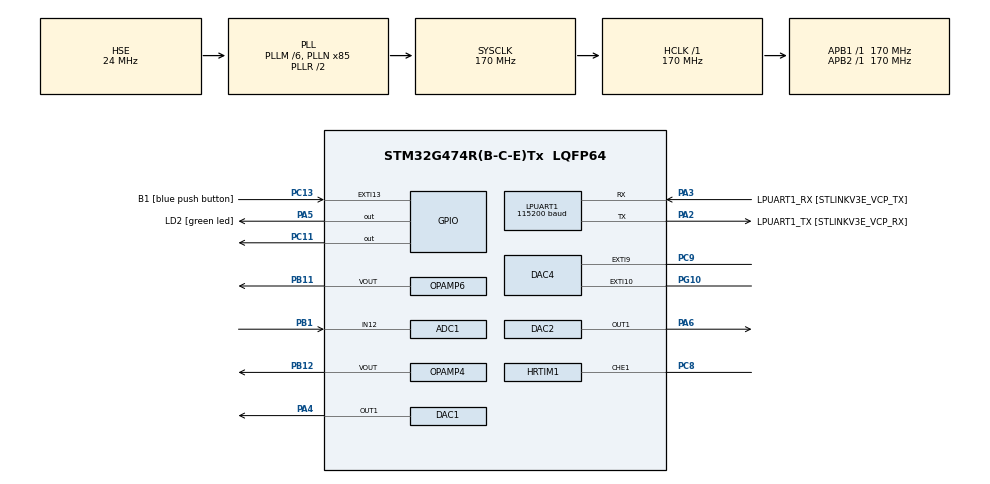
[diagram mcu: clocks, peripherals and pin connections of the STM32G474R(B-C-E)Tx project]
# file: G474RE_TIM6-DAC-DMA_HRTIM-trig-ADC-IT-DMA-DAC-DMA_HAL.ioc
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Mcu.Family=STM32G4
HRTIM1.NumberSetSource1-Output_TE1=1
RCC.CortexFreq_Value=170000000
HRTIM1.InterleavedMode-Output_TE1=HRTIM_INTERLEAVED_MODE_DUAL
Dma.DAC3_CH1.0.Polarity=HAL_DMAMUX_REQ_GEN_RISING
Dma.ADC1.1.MemDataAlignment=DMA_MDATAALIGN_WORD
ADC1.Overrun=ADC_OVR_DATA_OVERWRITTEN
Dma.DAC4_CH1.2.SyncPolarity=HAL_DMAMUX_SYNC_NO_EVENT
Dma.DAC3_CH1.0.MemInc=DMA_MINC_ENABLE
DAC2.DAC_HighFrequency_OUT1-DAC_OUT1=DAC_HIGH_FREQUENCY_INTERFACE_MODE_ABOVE_160MHZ
PA14.GPIO_Label=T_SWCLK
Dma.DAC3_CH1.0.PeriphInc=DMA_PINC_DISABLE
Dma.ADC1.1.SyncEnable=DISABLE
SH.COMP_DAC21_group.0=DAC2_OUT1,DAC_OUT1
DAC1.DAC_Trigger_OUT1-DAC_OUT1=DAC_TRIGGER_NONE
Dma.DAC4_CH1.2.Polarity=HAL_DMAMUX_REQ_GEN_RISING
LPUART1.WordLength=UART_WORDLENGTH_8B
PC13.GPIO_Label=B1 [blue push button]
PB11.Signal=OPAMP6_VOUT
RCC.SYSCLKSource=RCC_SYSCLKSOURCE_PLLCLK
ProjectManager.StackSize=0x400
Dma.DAC3_CH1.0.MemDataAlignment=DMA_MDATAALIGN_WORD
Dma.DAC4_CH1.2.SyncRequestNumber=1
NVIC.DMA1_Channel3_IRQn=true\:0\:0\:false\:false\:true\:false\:true
Dma.DAC3_CH1.0.SyncPolarity=HAL_DMAMUX_SYNC_NO_EVENT
Dma.DAC3_CH1.0.SyncEnable=DISABLE
Dma.ADC1.1.Instance=DMA1_Channel2
Dma.ADC1.1.SyncPolarity=HAL_DMAMUX_SYNC_NO_EVENT
HRTIM1.Periode_MASTER=54400
RCC.HCLKFreq_Value=170000000
RCC.APB2TimFreq_Value=170000000
DAC3.DAC_Trigger_OUT1-DAC_OUT1_Int=DAC_TRIGGER_T6_TRGO
Dma.ADC1.1.PeriphDataAlignment=DMA_PDATAALIGN_WORD
RCC.AHBFreq_Value=170000000
HRTIM1.NumberResetSource1-Output_TE1=1
VP_HRTIM1_VS_hrtimMasterTimerNoOutput.Mode=MasterTimer
HRTIM1.ORingUpdateSource_ADCTrigger1=HRTIM_ADCTRIGGERUPDATE_TIMER_E
Dma.DAC4_CH1.2.RequestNumber=1
ADC1.Channel-0\#ChannelRegularConversion=ADC_CHANNEL_12
RCC.HSE_VALUE=24000000
Dma.DAC4_CH1.2.MemDataAlignment=DMA_MDATAALIGN_WORD
PB3.Mode=Trace_Asynchronous_SW
OPAMP6.PowerMode=OPAMP_POWERMODE_HIGHSPEED
RCC.ADC12Freq_Value=170000000
RCC.RTCClockSelection=RCC_RTCCLKSOURCE_LSE
VP_DAC3_VS_DACI1.Mode=DAC_OUT1_Int
PC14-OSC32_IN.Mode=LSE-External-Oscillator
PA14.Mode=Trace_Asynchronous_SW
HRTIM1.PrescalerRatio_MASTER=HRTIM_PRESCALERRATIO_MUL16
Dma.ADC1.1.Priority=DMA_PRIORITY_HIGH
Dma.DAC4_CH1.2.SignalID=NONE
VP_SYS_VS_DBSignals.Mode=DisableDeadBatterySignals
Dma.ADC1.1.Mode=DMA_CIRCULAR
HRTIM1.ResetOutput1_Source1-Output_TE1=HRTIM_OUTPUTRESET_TIMCMP1
OPAMP4.PowerMode=OPAMP_POWERMODE_HIGHSPEED
ADC1.SamplingTime-0\#ChannelRegularConversion=ADC_SAMPLETIME_24CYCLES_5
DAC2.DAC_Trigger_OUT1-DAC_OUT1=DAC_TRIGGER_NONE
Dma.DAC4_CH1.2.Direction=DMA_MEMORY_TO_PERIPH
Mcu.Package=LQFP64
PB1.Signal=ADC1_IN12
PA6.Signal=COMP_DAC21_group
PB12.Mode=Follower-DAC_OUT2-INP
ADC1.EnableInjectedConversion=DISABLE
Dma.DAC3_CH1.0.Mode=DMA_CIRCULAR
DAC1.DAC_HighFrequency_OUT1-DAC_OUT1=DAC_HIGH_FREQUENCY_INTERFACE_MODE_ABOVE_160MHZ
Dma.ADC1.1.Direction=DMA_PERIPH_TO_MEMORY
TIM6.PeriodNoDither=5-1
PA2.GPIO_Label=LPUART1_TX [STLINKV3E_VCP_RX]
Dma.ADC1.1.MemInc=DMA_MINC_ENABLE
HRTIM1.ADCTrigger1_Source1=HRTIM_ADCTRIGGEREVENT13_TIMERE_PERIOD
ADC1.Rank1_Channel=ADC_CHANNEL_12
HRTIM1.NumberADCTriggerSource1=1
Dma.Request2=DAC4_CH1
Dma.Request1=ADC1
RCC.APB1TimFreq_Value=170000000
PF1-OSC_OUT.Mode=HSE-External-Oscillator
Dma.Request0=DAC3_CH1
Dma.DAC4_CH1.2.SyncSignalID=NONE
ADC1.EOCSelection=ADC_EOC_SINGLE_CONV
PF1-OSC_OUT.Signal=RCC_OSC_OUT
RCC.HSI48_VALUE=48000000
PC9.GPIO_ModeDefaultEXTI=GPIO_MODE_EVT_FALLING
Dma.ADC1.1.SignalID=NONE
PA3.Signal=LPUART1_RX
PB3.GPIO_Label=T_SWO
RCC.PLLSourceVirtual=RCC_PLLSOURCE_HSE
PC15-OSC32_OUT.Mode=LSE-External-Oscillator
ADC1.Rank-0\#ChannelRegularConversion=1
Dma.DAC4_CH1.2.PeriphInc=DMA_PINC_DISABLE
Dma.ADC1.1.SyncSignalID=NONE
ADC1.OffsetNumber-0\#ChannelRegularConversion=ADC_OFFSET_NONE
PC13.Signal=GPXTI13
PC11.Signal=GPIO_Output
Dma.ADC1.1.RequestNumber=1
PC8.Signal=HRTIM1_CHE1
TIM6.Prescaler=17-1
VP_TIM6_VS_ClockSourceINT.Mode=Enable_Timer
RCC.EXTERNAL_CLOCK_VALUE=12288000
PC14-OSC32_IN.Signal=RCC_OSC32_IN
Dma.DAC3_CH1.0.Instance=DMA1_Channel1
HRTIM1.PrescalerRatio_TE=HRTIM_PRESCALERRATIO_MUL16
Dma.DAC4_CH1.2.Mode=DMA_CIRCULAR
HRTIM1.CompareUnit1-Output_TE1=HRTIM_COMPAREUNIT_1
PA13.Signal=SYS_JTMS-SWDIO
PA3.Mode=Asynchronous
DAC4.DAC_Trigger_OUT1-DAC_OUT1_Int=DAC_TRIGGER_EXT_IT9
DAC4.DAC_HighFrequency_OUT1-DAC_OUT1_Int=DAC_HIGH_FREQUENCY_INTERFACE_MODE_ABOVE_160MHZ
Dma.DAC3_CH1.0.Direction=DMA_MEMORY_TO_PERIPH
TIM6.AutoReloadPreload=TIM_AUTORELOAD_PRELOAD_DISABLE
PB11.Mode=Follower-DAC_OUT2-INP
PG10-NRST.Signal=GPXTI10
NVIC.DMA1_Channel2_IRQn=true\:0\:0\:false\:false\:true\:false\:true
ProjectManager.TargetToolchain=STM32CubeIDE
SH.COMP_DAC11_group.0=DAC1_OUT1,DAC_OUT1
VP_DAC4_VS_DACI1.Mode=DAC_OUT1_Int
RCC.USBFreq_Value=170000000
Dma.ADC1.1.Polarity=HAL_DMAMUX_REQ_GEN_RISING
PC15-OSC32_OUT.Signal=RCC_OSC32_OUT
PF0-OSC_IN.Mode=HSE-External-Oscillator
Dma.DAC4_CH1.2.SyncEnable=DISABLE
Dma.DAC3_CH1.0.EventEnable=DISABLE
HRTIM1.CompareValue1-MasterTimer=54400/2
Dma.ADC1.1.SyncRequestNumber=1
PA5.Signal=GPIO_Output
HRTIM1.ADCTrigger_Id2=__NULL
HRTIM1.ADCTrigger_Id1=HRTIM_ADCTRIGGER_1
Dma.DAC3_CH1.0.SyncRequestNumber=1
board=NUCLEO-G474RE
RCC.VCOOutputFreq_Value=340000000
Dma.DAC4_CH1.2.Priority=DMA_PRIORITY_VERY_HIGH
RCC.ADC345Freq_Value=170000000
RCC.APB2Freq_Value=170000000
TIM6.TIM_MasterOutputTrigger=TIM_TRGO_UPDATE
Dma.DAC3_CH1.0.SignalID=NONE
Dma.ADC1.1.PeriphInc=DMA_PINC_DISABLE
ADC1.DMAContinuousRequests=ENABLE
PA13.Mode=Trace_Asynchronous_SW
Mcu.Name=STM32G474R(B-C-E)Tx
LPUART1.BaudRate=115200
PA13.GPIO_Label=T_SWDIO
PA2.Signal=LPUART1_TX
HRTIM1.SetOutput1_Source1-Output_TE1=HRTIM_OUTPUTSET_TIMPER
Dma.DAC3_CH1.0.PeriphDataAlignment=DMA_PDATAALIGN_WORD
ADC1.ExternalTrigConv=ADC_EXTERNALTRIG_HRTIM_TRG1
Dma.DAC3_CH1.0.Priority=DMA_PRIORITY_HIGH
PC8.Mode=Output_TE1
PC8.GPIO_Speed_High_Default=GPIO_SPEED_FREQ_LOW
PB3.Signal=SYS_JTDO-SWO
PA4.Signal=COMP_DAC11_group
RCC.SYSCLKFreq_VALUE=170000000
ADC1.master=1
DAC3.DAC_HighFrequency_OUT1-DAC_OUT1_Int=DAC_HIGH_FREQUENCY_INTERFACE_MODE_ABOVE_160MHZ
PA5.GPIO_Label=LD2 [green led]
Dma.DAC3_CH1.0.RequestNumber=1
PA14.Signal=SYS_JTCK-SWCLK
ProjectManager.HeapSize=0x200
PB1.Mode=IN12-Single-Ended
RCC.HSI_VALUE=16000000
NVIC.PriorityGroup=NVIC_PRIORITYGROUP_4
ADC1.NbrOfConversionFlag=1
RCC.PLLM=RCC_PLLM_DIV6
Dma.DAC4_CH1.2.MemInc=DMA_MINC_ENABLE
RCC.PLLN=85
Dma.DAC3_CH1.0.SyncSignalID=NONE
Dma.DAC4_CH1.2.EventEnable=DISABLE
PA2.Mode=Asynchronous
Dma.DAC4_CH1.2.Instance=DMA1_Channel3
PC9.Signal=GPXTI9
NVIC.DMA1_Channel1_IRQn=true\:0\:0\:false\:false\:true\:false\:true
PF0-OSC_IN.Signal=RCC_OSC_IN
Dma.ADC1.1.EventEnable=DISABLE
Dma.DAC4_CH1.2.PeriphDataAlignment=DMA_PDATAALIGN_WORD
RCC.APB1Freq_Value=170000000
HRTIM1.CompareUnit1-MasterTimer=HRTIM_COMPAREUNIT_1
PB12.Signal=OPAMP4_VOUT
HRTIM1.Periode_TE=54400
PA3.GPIO_Label=LPUART1_RX [STLINKV3E_VCP_TX]

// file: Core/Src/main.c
/* USER CODE BEGIN Header */
/**
  ******************************************************************************
  * @file           : main.c
  * @brief          : Main program body
  ******************************************************************************
  * @attention
  *
  * <h2><center>&copy; Copyright (c) 2021 STMicroelectronics.
  * All rights reserved.</center></h2>
  *
  * This software component is licensed by ST under BSD 3-Clause license,
  * the "License"; You may not use this file except in compliance with the
  * License. You may obtain a copy of the License at:
  *                        opensource.org/licenses/BSD-3-Clause
  *
  ******************************************************************************
  */
/* USER CODE END Header */
#include "main.h"

/* USER CODE BEGIN Includes */

#include "waveforms.h"

/* USER CODE END Includes */

ADC_HandleTypeDef hadc1;
DMA_HandleTypeDef hdma_adc1;

DAC_HandleTypeDef hdac1;
DAC_HandleTypeDef hdac2;
DAC_HandleTypeDef hdac3;
DAC_HandleTypeDef hdac4;
DMA_HandleTypeDef hdma_dac3_ch1;
DMA_HandleTypeDef hdma_dac4_ch1;

HRTIM_HandleTypeDef hhrtim1;

UART_HandleTypeDef hlpuart1;

OPAMP_HandleTypeDef hopamp4;
OPAMP_HandleTypeDef hopamp6;

TIM_HandleTypeDef htim6;

/* USER CODE BEGIN PV */

uint32_t adc_data, adc_dac_value;

/* USER CODE END PV */

void SystemClock_Config(void);
static void MX_GPIO_Init(void);
static void MX_DMA_Init(void);
static void MX_LPUART1_UART_Init(void);
static void MX_ADC1_Init(void);
static void MX_HRTIM1_Init(void);
static void MX_TIM6_Init(void);
static void MX_DAC3_Init(void);
static void MX_OPAMP6_Init(void);
static void MX_DAC4_Init(void);
static void MX_OPAMP4_Init(void);
static void MX_DAC2_Init(void);
static void MX_DAC1_Init(void);

int main(void)
{

  /* MCU Configuration--------------------------------------------------------*/

  /* Reset of all peripherals, Initializes the Flash interface and the Systick. */
  HAL_Init();

  /* Configure the system clock */
  SystemClock_Config();

  /* Initialize all configured peripherals */
  MX_GPIO_Init();
  MX_DMA_Init();
  MX_LPUART1_UART_Init();
  MX_ADC1_Init();
  MX_HRTIM1_Init();
  MX_TIM6_Init();
  MX_DAC3_Init();
  MX_OPAMP6_Init();
  MX_DAC4_Init();
  MX_OPAMP4_Init();
  MX_DAC2_Init();
  MX_DAC1_Init();
  /* USER CODE BEGIN 2 */

	for (uint16_t cntr = 0; cntr < MySine2000_SIZE; cntr++)
	{
		MySine2000[cntr] += 682;
		MySine2000[cntr] += MySine200[cntr % MySine200_SIZE];
	}

  /*##- Enable DAC Channel and associated DMA ##############################*/
  if(HAL_OK != HAL_DAC_Start_DMA(&hdac3, DAC_CHANNEL_1,
  				   (uint32_t*)MySine2000, MySine2000_SIZE, DAC_ALIGN_12B_R))
  {
  	/* Start DMA Error */
  	Error_Handler();
  }

//  /*##- Enable DAC Channel ##############################*/
//  if(HAL_OK != HAL_DAC_Start(&hdac4, DAC_CHANNEL_1))
//  {
//  	/* Start Error */
//  	Error_Handler();
//  }

	/*##- Enable DAC Channel and associated DMA ##############################*/
	if(HAL_OK != HAL_DAC_Start_DMA(&hdac4, DAC_CHANNEL_1,
								&adc_dac_value, 1, DAC_ALIGN_12B_R))
	{
		/* Start DMA Error */
		Error_Handler();
	}

  /*##- Start OPAMP    #####################################################*/
  /* Enable OPAMP */
  if(HAL_OK != HAL_OPAMP_Start(&hopamp6))
  {
  	Error_Handler();
  }

  /*##- Start OPAMP    #####################################################*/
  /* Enable OPAMP */
  if(HAL_OK != HAL_OPAMP_Start(&hopamp4))
  {
  	Error_Handler();
  }

  /*##- Enable TIM peripheral counter ######################################*/
  if(HAL_OK != HAL_TIM_Base_Start(&htim6))
  {
  	Error_Handler();
  }

//  /*##- Enable Injected ADC Channel IT ##############################*/
//  if(HAL_OK != HAL_ADCEx_InjectedStart_IT(&hadc1))
//  {
//  	/* Start Error */
//  	Error_Handler();
//  }

//  /*##- Enable Regular Injection ADC Channel ##############################*/
//  if(HAL_OK != HAL_ADC_Start_IT(&hadc1))
//  {
//  	/* Start Error */
//  	Error_Handler();
//  }

	/*##- Enable ADC Channel and associated DMA ##############################*/
	if(HAL_OK != HAL_ADC_Start_DMA(&hadc1, &adc_dac_value, 1))
	{
		/* Start DMA Error */
		Error_Handler();
	}

	/*##- Enable DAC Channel ##############################*/
	if(HAL_OK != HAL_DAC_Start(&hdac1, DAC_CHANNEL_1))
	{
		/* Start Error */
		Error_Handler();
	}

	if(HAL_OK != HAL_DAC_Start(&hdac2, DAC_CHANNEL_1))
	{
		/* Start Error */
		Error_Handler();
	}

	if(HAL_OK != HAL_HRTIM_WaveformOutputStart(&hhrtim1, HRTIM_OUTPUT_TE1))
	{
		Error_Handler();
	}

	if(HAL_OK != HAL_HRTIM_WaveformCounterStart(&hhrtim1, HRTIM_TIMERID_TIMER_E))
	{
		Error_Handler();
	}

  /* USER CODE END 2 */

  /* Infinite loop */
  while (1)
  {

  }
}

void SystemClock_Config(void)
{
  RCC_OscInitTypeDef RCC_OscInitStruct = {0};
  RCC_ClkInitTypeDef RCC_ClkInitStruct = {0};
  RCC_PeriphCLKInitTypeDef PeriphClkInit = {0};

  /** Configure the main internal regulator output voltage
  */
  HAL_PWREx_ControlVoltageScaling(PWR_REGULATOR_VOLTAGE_SCALE1_BOOST);
  /** Initializes the RCC Oscillators according to the specified parameters
  * in the RCC_OscInitTypeDef structure.
  */
  RCC_OscInitStruct.OscillatorType = RCC_OSCILLATORTYPE_HSE;
  RCC_OscInitStruct.HSEState = RCC_HSE_ON;
  RCC_OscInitStruct.PLL.PLLState = RCC_PLL_ON;
  RCC_OscInitStruct.PLL.PLLSource = RCC_PLLSOURCE_HSE;
  RCC_OscInitStruct.PLL.PLLM = RCC_PLLM_DIV6;
  RCC_OscInitStruct.PLL.PLLN = 85;
  RCC_OscInitStruct.PLL.PLLP = RCC_PLLP_DIV2;
  RCC_OscInitStruct.PLL.PLLQ = RCC_PLLQ_DIV2;
  RCC_OscInitStruct.PLL.PLLR = RCC_PLLR_DIV2;
  if (HAL_RCC_OscConfig(&RCC_OscInitStruct) != HAL_OK)
  {
    Error_Handler();
  }
  /** Initializes the CPU, AHB and APB buses clocks
  */
  RCC_ClkInitStruct.ClockType = RCC_CLOCKTYPE_HCLK|RCC_CLOCKTYPE_SYSCLK
                              |RCC_CLOCKTYPE_PCLK1|RCC_CLOCKTYPE_PCLK2;
  RCC_ClkInitStruct.SYSCLKSource = RCC_SYSCLKSOURCE_PLLCLK;
  RCC_ClkInitStruct.AHBCLKDivider = RCC_SYSCLK_DIV1;
  RCC_ClkInitStruct.APB1CLKDivider = RCC_HCLK_DIV1;
  RCC_ClkInitStruct.APB2CLKDivider = RCC_HCLK_DIV1;

  if (HAL_RCC_ClockConfig(&RCC_ClkInitStruct, FLASH_LATENCY_4) != HAL_OK)
  {
    Error_Handler();
  }
  /** Initializes the peripherals clocks
  */
  PeriphClkInit.PeriphClockSelection = RCC_PERIPHCLK_LPUART1|RCC_PERIPHCLK_ADC12;
  PeriphClkInit.Lpuart1ClockSelection = RCC_LPUART1CLKSOURCE_PCLK1;
  PeriphClkInit.Adc12ClockSelection = RCC_ADC12CLKSOURCE_SYSCLK;
  if (HAL_RCCEx_PeriphCLKConfig(&PeriphClkInit) != HAL_OK)
  {
    Error_Handler();
  }
}

static void MX_ADC1_Init(void)
{

  ADC_MultiModeTypeDef multimode = {0};
  ADC_ChannelConfTypeDef sConfig = {0};

  /** Common config
  */
  hadc1.Instance = ADC1;
  hadc1.Init.ClockPrescaler = ADC_CLOCK_SYNC_PCLK_DIV4;
  hadc1.Init.Resolution = ADC_RESOLUTION_12B;
  hadc1.Init.DataAlign = ADC_DATAALIGN_RIGHT;
  hadc1.Init.GainCompensation = 0;
  hadc1.Init.ScanConvMode = ADC_SCAN_DISABLE;
  hadc1.Init.EOCSelection = ADC_EOC_SINGLE_CONV;
  hadc1.Init.LowPowerAutoWait = DISABLE;
  hadc1.Init.ContinuousConvMode = DISABLE;
  hadc1.Init.NbrOfConversion = 1;
  hadc1.Init.DiscontinuousConvMode = DISABLE;
  hadc1.Init.ExternalTrigConv = ADC_EXTERNALTRIG_HRTIM_TRG1;
  hadc1.Init.ExternalTrigConvEdge = ADC_EXTERNALTRIGCONVEDGE_RISING;
  hadc1.Init.DMAContinuousRequests = ENABLE;
  hadc1.Init.Overrun = ADC_OVR_DATA_OVERWRITTEN;
  hadc1.Init.OversamplingMode = DISABLE;
  if (HAL_ADC_Init(&hadc1) != HAL_OK)
  {
    Error_Handler();
  }
  /** Configure the ADC multi-mode
  */
  multimode.Mode = ADC_MODE_INDEPENDENT;
  if (HAL_ADCEx_MultiModeConfigChannel(&hadc1, &multimode) != HAL_OK)
  {
    Error_Handler();
  }
  /** Configure Regular Channel
  */
  sConfig.Channel = ADC_CHANNEL_12;
  sConfig.Rank = ADC_REGULAR_RANK_1;
  sConfig.SamplingTime = ADC_SAMPLETIME_24CYCLES_5;
  sConfig.SingleDiff = ADC_SINGLE_ENDED;
  sConfig.OffsetNumber = ADC_OFFSET_NONE;
  sConfig.Offset = 0;
  if (HAL_ADC_ConfigChannel(&hadc1, &sConfig) != HAL_OK)
  {
    Error_Handler();
  }

}

static void MX_DAC1_Init(void)
{

  DAC_ChannelConfTypeDef sConfig = {0};

  /** DAC Initialization
  */
  hdac1.Instance = DAC1;
  if (HAL_DAC_Init(&hdac1) != HAL_OK)
  {
    Error_Handler();
  }
  /** DAC channel OUT1 config
  */
  sConfig.DAC_HighFrequency = DAC_HIGH_FREQUENCY_INTERFACE_MODE_ABOVE_160MHZ;
  sConfig.DAC_DMADoubleDataMode = DISABLE;
  sConfig.DAC_SignedFormat = DISABLE;
  sConfig.DAC_SampleAndHold = DAC_SAMPLEANDHOLD_DISABLE;
  sConfig.DAC_Trigger = DAC_TRIGGER_NONE;
  sConfig.DAC_Trigger2 = DAC_TRIGGER_NONE;
  sConfig.DAC_OutputBuffer = DAC_OUTPUTBUFFER_ENABLE;
  sConfig.DAC_ConnectOnChipPeripheral = DAC_CHIPCONNECT_EXTERNAL;
  sConfig.DAC_UserTrimming = DAC_TRIMMING_FACTORY;
  if (HAL_DAC_ConfigChannel(&hdac1, &sConfig, DAC_CHANNEL_1) != HAL_OK)
  {
    Error_Handler();
  }

}

static void MX_DAC2_Init(void)
{

  DAC_ChannelConfTypeDef sConfig = {0};

  /** DAC Initialization
  */
  hdac2.Instance = DAC2;
  if (HAL_DAC_Init(&hdac2) != HAL_OK)
  {
    Error_Handler();
  }
  /** DAC channel OUT1 config
  */
  sConfig.DAC_HighFrequency = DAC_HIGH_FREQUENCY_INTERFACE_MODE_ABOVE_160MHZ;
  sConfig.DAC_DMADoubleDataMode = DISABLE;
  sConfig.DAC_SignedFormat = DISABLE;
  sConfig.DAC_SampleAndHold = DAC_SAMPLEANDHOLD_DISABLE;
  sConfig.DAC_Trigger = DAC_TRIGGER_NONE;
  sConfig.DAC_Trigger2 = DAC_TRIGGER_NONE;
  sConfig.DAC_OutputBuffer = DAC_OUTPUTBUFFER_ENABLE;
  sConfig.DAC_ConnectOnChipPeripheral = DAC_CHIPCONNECT_EXTERNAL;
  sConfig.DAC_UserTrimming = DAC_TRIMMING_FACTORY;
  if (HAL_DAC_ConfigChannel(&hdac2, &sConfig, DAC_CHANNEL_1) != HAL_OK)
  {
    Error_Handler();
  }

}

static void MX_DAC3_Init(void)
{

  DAC_ChannelConfTypeDef sConfig = {0};

  /** DAC Initialization
  */
  hdac3.Instance = DAC3;
  if (HAL_DAC_Init(&hdac3) != HAL_OK)
  {
    Error_Handler();
  }
  /** DAC channel OUT1 config
  */
  sConfig.DAC_HighFrequency = DAC_HIGH_FREQUENCY_INTERFACE_MODE_ABOVE_160MHZ;
  sConfig.DAC_DMADoubleDataMode = DISABLE;
  sConfig.DAC_SignedFormat = DISABLE;
  sConfig.DAC_SampleAndHold = DAC_SAMPLEANDHOLD_DISABLE;
  sConfig.DAC_Trigger = DAC_TRIGGER_T6_TRGO;
  sConfig.DAC_Trigger2 = DAC_TRIGGER_NONE;
  sConfig.DAC_OutputBuffer = DAC_OUTPUTBUFFER_DISABLE;
  sConfig.DAC_ConnectOnChipPeripheral = DAC_CHIPCONNECT_INTERNAL;
  sConfig.DAC_UserTrimming = DAC_TRIMMING_FACTORY;
  if (HAL_DAC_ConfigChannel(&hdac3, &sConfig, DAC_CHANNEL_1) != HAL_OK)
  {
    Error_Handler();
  }

}

static void MX_DAC4_Init(void)
{

  DAC_ChannelConfTypeDef sConfig = {0};

  /** DAC Initialization
  */
  hdac4.Instance = DAC4;
  if (HAL_DAC_Init(&hdac4) != HAL_OK)
  {
    Error_Handler();
  }
  /** DAC channel OUT1 config
  */
  sConfig.DAC_HighFrequency = DAC_HIGH_FREQUENCY_INTERFACE_MODE_ABOVE_160MHZ;
  sConfig.DAC_DMADoubleDataMode = DISABLE;
  sConfig.DAC_SignedFormat = DISABLE;
  sConfig.DAC_SampleAndHold = DAC_SAMPLEANDHOLD_DISABLE;
  sConfig.DAC_Trigger = DAC_TRIGGER_EXT_IT9;
  sConfig.DAC_Trigger2 = DAC_TRIGGER_NONE;
  sConfig.DAC_OutputBuffer = DAC_OUTPUTBUFFER_DISABLE;
  sConfig.DAC_ConnectOnChipPeripheral = DAC_CHIPCONNECT_INTERNAL;
  sConfig.DAC_UserTrimming = DAC_TRIMMING_FACTORY;
  if (HAL_DAC_ConfigChannel(&hdac4, &sConfig, DAC_CHANNEL_1) != HAL_OK)
  {
    Error_Handler();
  }

}

static void MX_HRTIM1_Init(void)
{

  HRTIM_ADCTriggerCfgTypeDef pADCTriggerCfg = {0};
  HRTIM_TimeBaseCfgTypeDef pTimeBaseCfg = {0};
  HRTIM_TimerCfgTypeDef pTimerCfg = {0};
  HRTIM_CompareCfgTypeDef pCompareCfg = {0};
  HRTIM_TimerCtlTypeDef pTimerCtl = {0};
  HRTIM_OutputCfgTypeDef pOutputCfg = {0};

  hhrtim1.Instance = HRTIM1;
  hhrtim1.Init.HRTIMInterruptResquests = HRTIM_IT_NONE;
  hhrtim1.Init.SyncOptions = HRTIM_SYNCOPTION_NONE;
  if (HAL_HRTIM_Init(&hhrtim1) != HAL_OK)
  {
    Error_Handler();
  }
  if (HAL_HRTIM_DLLCalibrationStart(&hhrtim1, HRTIM_CALIBRATIONRATE_3) != HAL_OK)
  {
    Error_Handler();
  }
  if (HAL_HRTIM_PollForDLLCalibration(&hhrtim1, 10) != HAL_OK)
  {
    Error_Handler();
  }
  pADCTriggerCfg.UpdateSource = HRTIM_ADCTRIGGERUPDATE_TIMER_E;
  pADCTriggerCfg.Trigger = HRTIM_ADCTRIGGEREVENT13_TIMERE_PERIOD;
  if (HAL_HRTIM_ADCTriggerConfig(&hhrtim1, HRTIM_ADCTRIGGER_1, &pADCTriggerCfg) != HAL_OK)
  {
    Error_Handler();
  }
  if (HAL_HRTIM_ADCPostScalerConfig(&hhrtim1, HRTIM_ADCTRIGGER_1, 0x0) != HAL_OK)
  {
    Error_Handler();
  }
  pTimeBaseCfg.Period = 54400;
  pTimeBaseCfg.RepetitionCounter = 0x00;
  pTimeBaseCfg.PrescalerRatio = HRTIM_PRESCALERRATIO_MUL16;
  pTimeBaseCfg.Mode = HRTIM_MODE_CONTINUOUS;
  if (HAL_HRTIM_TimeBaseConfig(&hhrtim1, HRTIM_TIMERINDEX_MASTER, &pTimeBaseCfg) != HAL_OK)
  {
    Error_Handler();
  }
  pTimerCfg.InterruptRequests = HRTIM_MASTER_IT_NONE;
  pTimerCfg.DMARequests = HRTIM_MASTER_DMA_NONE;
  pTimerCfg.DMASrcAddress = 0x0000;
  pTimerCfg.DMADstAddress = 0x0000;
  pTimerCfg.DMASize = 0x1;
  pTimerCfg.HalfModeEnable = HRTIM_HALFMODE_DISABLED;
  pTimerCfg.InterleavedMode = HRTIM_INTERLEAVED_MODE_DISABLED;
  pTimerCfg.StartOnSync = HRTIM_SYNCSTART_DISABLED;
  pTimerCfg.ResetOnSync = HRTIM_SYNCRESET_DISABLED;
  pTimerCfg.DACSynchro = HRTIM_DACSYNC_NONE;
  pTimerCfg.PreloadEnable = HRTIM_PRELOAD_DISABLED;
  pTimerCfg.UpdateGating = HRTIM_UPDATEGATING_INDEPENDENT;
  pTimerCfg.BurstMode = HRTIM_TIMERBURSTMODE_MAINTAINCLOCK;
  pTimerCfg.RepetitionUpdate = HRTIM_UPDATEONREPETITION_DISABLED;
  pTimerCfg.ReSyncUpdate = HRTIM_TIMERESYNC_UPDATE_UNCONDITIONAL;
  if (HAL_HRTIM_WaveformTimerConfig(&hhrtim1, HRTIM_TIMERINDEX_MASTER, &pTimerCfg) != HAL_OK)
  {
    Error_Handler();
  }
  pCompareCfg.CompareValue = 54400/2;
  if (HAL_HRTIM_WaveformCompareConfig(&hhrtim1, HRTIM_TIMERINDEX_MASTER, HRTIM_COMPAREUNIT_1, &pCompareCfg) != HAL_OK)
  {
    Error_Handler();
  }
  if (HAL_HRTIM_TimeBaseConfig(&hhrtim1, HRTIM_TIMERINDEX_TIMER_E, &pTimeBaseCfg) != HAL_OK)
  {
    Error_Handler();
  }
  pTimerCtl.UpDownMode = HRTIM_TIMERUPDOWNMODE_UP;
  pTimerCtl.GreaterCMP1 = HRTIM_TIMERGTCMP1_EQUAL;
  pTimerCtl.DualChannelDacEnable = HRTIM_TIMER_DCDE_DISABLED;
  if (HAL_HRTIM_WaveformTimerControl(&hhrtim1, HRTIM_TIMERINDEX_TIMER_E, &pTimerCtl) != HAL_OK)
  {
    Error_Handler();
  }
  pTimerCfg.DMARequests = HRTIM_TIM_DMA_NONE;
  pTimerCfg.InterleavedMode = HRTIM_INTERLEAVED_MODE_DUAL;
  pTimerCfg.PushPull = HRTIM_TIMPUSHPULLMODE_DISABLED;
  pTimerCfg.FaultEnable = HRTIM_TIMFAULTENABLE_NONE;
  pTimerCfg.FaultLock = HRTIM_TIMFAULTLOCK_READWRITE;
  pTimerCfg.DeadTimeInsertion = HRTIM_TIMDEADTIMEINSERTION_DISABLED;
  pTimerCfg.DelayedProtectionMode = HRTIM_TIMER_D_E_DELAYEDPROTECTION_DISABLED;
  pTimerCfg.UpdateTrigger = HRTIM_TIMUPDATETRIGGER_NONE;
  pTimerCfg.ResetTrigger = HRTIM_TIMRESETTRIGGER_NONE;
  pTimerCfg.ResetUpdate = HRTIM_TIMUPDATEONRESET_DISABLED;
  if (HAL_HRTIM_WaveformTimerConfig(&hhrtim1, HRTIM_TIMERINDEX_TIMER_E, &pTimerCfg) != HAL_OK)
  {
    Error_Handler();
  }
  pOutputCfg.Polarity = HRTIM_OUTPUTPOLARITY_HIGH;
  pOutputCfg.SetSource = HRTIM_OUTPUTSET_TIMPER;
  pOutputCfg.ResetSource = HRTIM_OUTPUTRESET_TIMCMP1;
  pOutputCfg.IdleMode = HRTIM_OUTPUTIDLEMODE_NONE;
  pOutputCfg.IdleLevel = HRTIM_OUTPUTIDLELEVEL_INACTIVE;
  pOutputCfg.FaultLevel = HRTIM_OUTPUTFAULTLEVEL_NONE;
  pOutputCfg.ChopperModeEnable = HRTIM_OUTPUTCHOPPERMODE_DISABLED;
  pOutputCfg.BurstModeEntryDelayed = HRTIM_OUTPUTBURSTMODEENTRY_REGULAR;
  if (HAL_HRTIM_WaveformOutputConfig(&hhrtim1, HRTIM_TIMERINDEX_TIMER_E, HRTIM_OUTPUT_TE1, &pOutputCfg) != HAL_OK)
  {
    Error_Handler();
  }
  HAL_HRTIM_MspPostInit(&hhrtim1);

}

static void MX_LPUART1_UART_Init(void)
{

  hlpuart1.Instance = LPUART1;
  hlpuart1.Init.BaudRate = 115200;
  hlpuart1.Init.WordLength = UART_WORDLENGTH_8B;
  hlpuart1.Init.StopBits = UART_STOPBITS_1;
  hlpuart1.Init.Parity = UART_PARITY_NONE;
  hlpuart1.Init.Mode = UART_MODE_TX_RX;
  hlpuart1.Init.HwFlowCtl = UART_HWCONTROL_NONE;
  hlpuart1.Init.OneBitSampling = UART_ONE_BIT_SAMPLE_DISABLE;
  hlpuart1.Init.ClockPrescaler = UART_PRESCALER_DIV1;
  hlpuart1.AdvancedInit.AdvFeatureInit = UART_ADVFEATURE_NO_INIT;
  if (HAL_UART_Init(&hlpuart1) != HAL_OK)
  {
    Error_Handler();
  }
  if (HAL_UARTEx_SetTxFifoThreshold(&hlpuart1, UART_TXFIFO_THRESHOLD_1_8) != HAL_OK)
  {
    Error_Handler();
  }
  if (HAL_UARTEx_SetRxFifoThreshold(&hlpuart1, UART_RXFIFO_THRESHOLD_1_8) != HAL_OK)
  {
    Error_Handler();
  }
  if (HAL_UARTEx_DisableFifoMode(&hlpuart1) != HAL_OK)
  {
    Error_Handler();
  }

}

static void MX_OPAMP4_Init(void)
{

  hopamp4.Instance = OPAMP4;
  hopamp4.Init.PowerMode = OPAMP_POWERMODE_HIGHSPEED;
  hopamp4.Init.Mode = OPAMP_FOLLOWER_MODE;
  hopamp4.Init.NonInvertingInput = OPAMP_NONINVERTINGINPUT_DAC;
  hopamp4.Init.InternalOutput = DISABLE;
  hopamp4.Init.TimerControlledMuxmode = OPAMP_TIMERCONTROLLEDMUXMODE_DISABLE;
  hopamp4.Init.UserTrimming = OPAMP_TRIMMING_FACTORY;
  if (HAL_OPAMP_Init(&hopamp4) != HAL_OK)
  {
    Error_Handler();
  }

}

static void MX_OPAMP6_Init(void)
{

  hopamp6.Instance = OPAMP6;
  hopamp6.Init.PowerMode = OPAMP_POWERMODE_HIGHSPEED;
  hopamp6.Init.Mode = OPAMP_FOLLOWER_MODE;
  hopamp6.Init.NonInvertingInput = OPAMP_NONINVERTINGINPUT_DAC;
  hopamp6.Init.InternalOutput = DISABLE;
  hopamp6.Init.TimerControlledMuxmode = OPAMP_TIMERCONTROLLEDMUXMODE_DISABLE;
  hopamp6.Init.UserTrimming = OPAMP_TRIMMING_FACTORY;
  if (HAL_OPAMP_Init(&hopamp6) != HAL_OK)
  {
    Error_Handler();
  }

}

static void MX_TIM6_Init(void)
{

  TIM_MasterConfigTypeDef sMasterConfig = {0};

  htim6.Instance = TIM6;
  htim6.Init.Prescaler = 17-1;
  htim6.Init.CounterMode = TIM_COUNTERMODE_UP;
  htim6.Init.Period = 4;
  htim6.Init.AutoReloadPreload = TIM_AUTORELOAD_PRELOAD_DISABLE;
  if (HAL_TIM_Base_Init(&htim6) != HAL_OK)
  {
    Error_Handler();
  }
  sMasterConfig.MasterOutputTrigger = TIM_TRGO_UPDATE;
  sMasterConfig.MasterSlaveMode = TIM_MASTERSLAVEMODE_DISABLE;
  if (HAL_TIMEx_MasterConfigSynchronization(&htim6, &sMasterConfig) != HAL_OK)
  {
    Error_Handler();
  }

}

static void MX_DMA_Init(void)
{

  /* DMA controller clock enable */
  __HAL_RCC_DMAMUX1_CLK_ENABLE();
  __HAL_RCC_DMA1_CLK_ENABLE();

  /* DMA interrupt init */
  /* DMA1_Channel1_IRQn interrupt configuration */
  HAL_NVIC_SetPriority(DMA1_Channel1_IRQn, 0, 0);
  HAL_NVIC_EnableIRQ(DMA1_Channel1_IRQn);
  /* DMA1_Channel2_IRQn interrupt configuration */
  HAL_NVIC_SetPriority(DMA1_Channel2_IRQn, 0, 0);
  HAL_NVIC_EnableIRQ(DMA1_Channel2_IRQn);
  /* DMA1_Channel3_IRQn interrupt configuration */
  HAL_NVIC_SetPriority(DMA1_Channel3_IRQn, 0, 0);
  HAL_NVIC_EnableIRQ(DMA1_Channel3_IRQn);

}

static void MX_GPIO_Init(void)
{
  GPIO_InitTypeDef GPIO_InitStruct = {0};

  /* GPIO Ports Clock Enable */
  __HAL_RCC_GPIOC_CLK_ENABLE();
  __HAL_RCC_GPIOF_CLK_ENABLE();
  __HAL_RCC_GPIOG_CLK_ENABLE();
  __HAL_RCC_GPIOA_CLK_ENABLE();
  __HAL_RCC_GPIOB_CLK_ENABLE();

  /*Configure GPIO pin Output Level */
  HAL_GPIO_WritePin(LD2_GPIO_Port, LD2_Pin, GPIO_PIN_RESET);

  /*Configure GPIO pin Output Level */
  HAL_GPIO_WritePin(GPIOC, GPIO_PIN_11, GPIO_PIN_RESET);

  /*Configure GPIO pin : B1_Pin */
  GPIO_InitStruct.Pin = B1_Pin;
  GPIO_InitStruct.Mode = GPIO_MODE_IT_RISING;
  GPIO_InitStruct.Pull = GPIO_NOPULL;
  HAL_GPIO_Init(B1_GPIO_Port, &GPIO_InitStruct);

  /*Configure GPIO pin : PG10 */
  GPIO_InitStruct.Pin = GPIO_PIN_10;
  GPIO_InitStruct.Mode = GPIO_MODE_IT_RISING;
  GPIO_InitStruct.Pull = GPIO_NOPULL;
  HAL_GPIO_Init(GPIOG, &GPIO_InitStruct);

  /*Configure GPIO pin : LD2_Pin */
  GPIO_InitStruct.Pin = LD2_Pin;
  GPIO_InitStruct.Mode = GPIO_MODE_OUTPUT_PP;
  GPIO_InitStruct.Pull = GPIO_NOPULL;
  GPIO_InitStruct.Speed = GPIO_SPEED_FREQ_LOW;
  HAL_GPIO_Init(LD2_GPIO_Port, &GPIO_InitStruct);

  /*Configure GPIO pin : PC9 */
  GPIO_InitStruct.Pin = GPIO_PIN_9;
  GPIO_InitStruct.Mode = GPIO_MODE_EVT_FALLING;
  GPIO_InitStruct.Pull = GPIO_NOPULL;
  HAL_GPIO_Init(GPIOC, &GPIO_InitStruct);

  /*Configure GPIO pin : PC11 */
  GPIO_InitStruct.Pin = GPIO_PIN_11;
  GPIO_InitStruct.Mode = GPIO_MODE_OUTPUT_PP;
  GPIO_InitStruct.Pull = GPIO_NOPULL;
  GPIO_InitStruct.Speed = GPIO_SPEED_FREQ_LOW;
  HAL_GPIO_Init(GPIOC, &GPIO_InitStruct);

}

/* USER CODE BEGIN 4 */

HAL_ADC_ConvCpltCallback(ADC_HandleTypeDef *hadc)
{
  /* Prevent unused argument(s) compilation warning */
  UNUSED(hadc);

  /* NOTE : This function should not be modified. When the callback is needed,
            function HAL_ADC_ConvCpltCallback must be implemented in the user file.
   */

//  HAL_GPIO_WritePin(GPIOA, GPIO_PIN_5, SET);
  HAL_GPIO_TogglePin(GPIOC, GPIO_PIN_11);
  HAL_DAC_SetValue(&hdac1, DAC_CHANNEL_1, DAC_ALIGN_12B_R, adc_dac_value);
  HAL_DAC_SetValue(&hdac2, DAC_CHANNEL_1, DAC_ALIGN_12B_R, adc_dac_value);
//  HAL_DAC_SetValue(&hdac1, DAC_CHANNEL_1, DAC_ALIGN_12B_R, adc_data);
//  HAL_DAC_SetValue(&hdac2, DAC_CHANNEL_1, DAC_ALIGN_12B_R, adc_data);
}

//HAL_ADCEx_InjectedConvCpltCallback(ADC_HandleTypeDef *hadc)
//{
//  /* Prevent unused argument(s) compilation warning */
//  UNUSED(hadc);
//
//  /* NOTE : This function should not be modified. When the callback is needed,
//            function HAL_ADCEx_InjectedConvCpltCallback must be implemented in the user file.
//  */
////  HAL_GPIO_WritePin(GPIOA, GPIO_PIN_5, SET);
//  HAL_GPIO_WritePin(GPIOC, GPIO_PIN_8, RESET);
//  adc_data = HAL_ADCEx_InjectedGetValue(hadc, ADC_INJECTED_RANK_1);
//  HAL_DAC_SetValue(&hdac4, DAC_CHANNEL_1, DAC_ALIGN_12B_R, adc_data);
//}

/* USER CODE END 4 */

void Error_Handler(void)
{
  __disable_irq();
  while (1)
  {
  }
}

/************************ (C) COPYRIGHT STMicroelectronics *****END OF FILE****/
